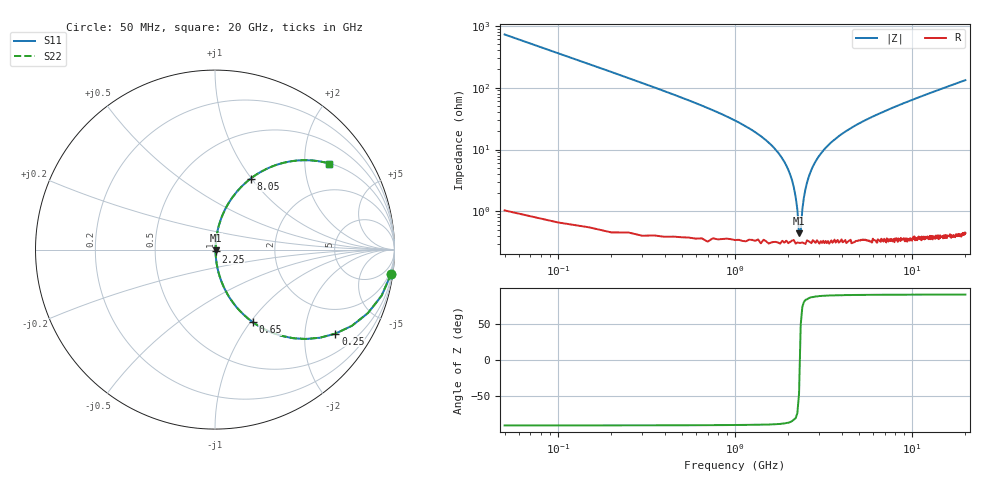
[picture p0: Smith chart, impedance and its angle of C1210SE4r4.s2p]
! AVX Thin Film Operation		Date: April 2012
! Description: Accu-P® Series, Thin Film, SMD, RF Capacitor
! Part Number: 12101J4R4ABTTR
!	50	MHz	-	20.05	GHz
!	Serial	Measurements
#	MHZ	S	MA	R	50
!	S11	S21	S12	S22
!	dB	Phase	dB	Phase	dB	Phase	dB	Phase
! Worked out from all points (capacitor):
!   400 points, 50 MHz to 20 GHz, reference 50 ohm
!   read as one part in series: C = 4.4 pF near 150 MHz
!   lowest |Z| = 447 mohm at 2.3 GHz (marker M1)
!   series resonance near 2.324 GHz, so ESL is about 1.1 nH
!   S11 on the Smith chart (normalised r, x): 50 MHz: 1, -14; 250 MHz: 1.01, -2.86; 650 MHz: 1.01, -1.03; 2.25 GHz: 1.01, -0.02; 8.05 GHz: 1.01, +0.99; 20 GHz: 1.01, +2.64
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50  0.99 -7.9  0.137 82.0  0.137 82.0  0.99 -7.9
150  0.922 -22.6  0.384 67.3  0.384 67.3  0.922 -22.6
250  0.818 -34.9  0.572 54.9  0.572 54.9  0.818 -34.9
650  0.455 -62.5  0.887 27.1  0.887 27.1  0.455 -62.5
1100  0.246 -75.0  0.966 14.3  0.966 14.3  0.246 -75.0
1800  0.08 -83.1  0.994 4.6  0.994 4.6  0.08 -83.1
2100  0.032 -82.4  0.996 1.8  0.996 1.8  0.032 -82.4
2250  0.011 -71.7  0.997 0.6  0.997 0.6  0.011 -71.7
2300  0.004529 -44.7  0.997 0.2  0.997 0.2  0.004529 -44.7
2350  0.004733 47.1  0.997 -0.2  0.997 -0.2  0.004733 47.1
2400  0.011 71.7  0.997 -0.6  0.997 -0.6  0.011 71.7
2450  0.017 78.0  0.997 -0.9  0.997 -0.9  0.017 78.0
2650  0.041 83.2  0.996 -2.3  0.996 -2.3  0.041 83.2
2950  0.075 83.3  0.994 -4.3  0.994 -4.3  0.075 83.3
3400  0.12 81.6  0.99 -6.9  0.99 -6.9  0.12 81.6
4750  0.235 75.7  0.969 -13.6  0.969 -13.6  0.235 75.7
6700  0.366 68.0  0.927 -21.5  0.927 -21.5  0.366 68.0
8050  0.442 63.4  0.894 -26.2  0.894 -26.2  0.442 63.4
10050  0.536 57.3  0.841 -32.4  0.841 -32.4  0.536 57.3
13350  0.654 48.9  0.754 -40.8  0.754 -40.8  0.654 48.9
16700  0.738 42.3  0.672 -47.5  0.672 -47.5  0.738 42.3
20000  0.796 37.0  0.602 -52.8  0.602 -52.8  0.796 37.0
